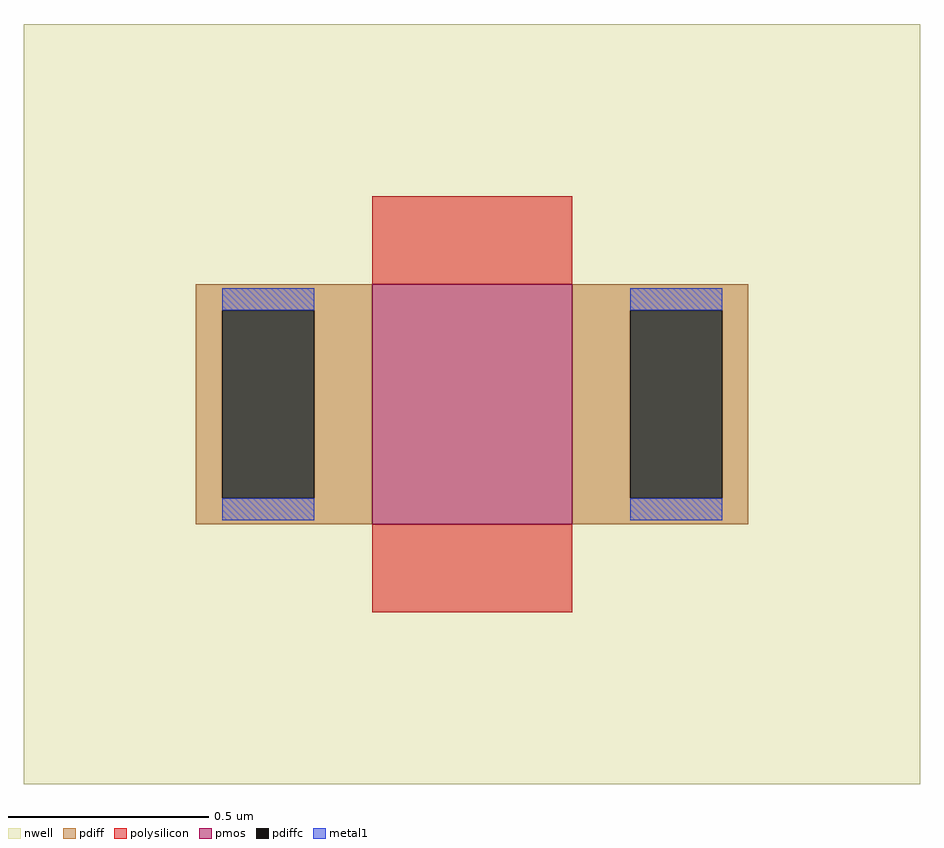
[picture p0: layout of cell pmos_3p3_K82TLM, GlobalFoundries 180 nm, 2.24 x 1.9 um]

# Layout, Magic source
magic
tech gf180mcuC
magscale 1 10
<< nwell >>
rect -224 -190 224 190
<< pmos >>
rect -50 -60 50 60
<< pdiff >>
rect -138 47 -50 60
rect -138 -47 -125 47
rect -79 -47 -50 47
rect -138 -60 -50 -47
rect 50 47 138 60
rect 50 -47 79 47
rect 125 -47 138 47
rect 50 -60 138 -47
<< pdiffc >>
rect -125 -47 -79 47
rect 79 -47 125 47
<< polysilicon >>
rect -50 60 50 104
rect -50 -104 50 -60
<< metal1 >>
rect -125 47 -79 58
rect -125 -58 -79 -47
rect 79 47 125 58
rect 79 -58 125 -47
<< properties >>
string gencell pmos_3p3
string library gf180mcu
string parameters w 0.6 l 0.5 m 1 nf 1 diffcov 100 polycov 100 guard 0 glc 0 grc 0 gtc 0 gbc 0 tbcov 100 rlcov 100 topc 0 botc 0 poverlap 0 doverlap 1 lmin 0.28 wmin 0.22 full_metal 0 compatible {pmos_3p3 pmos_6p0}
<< end >>
